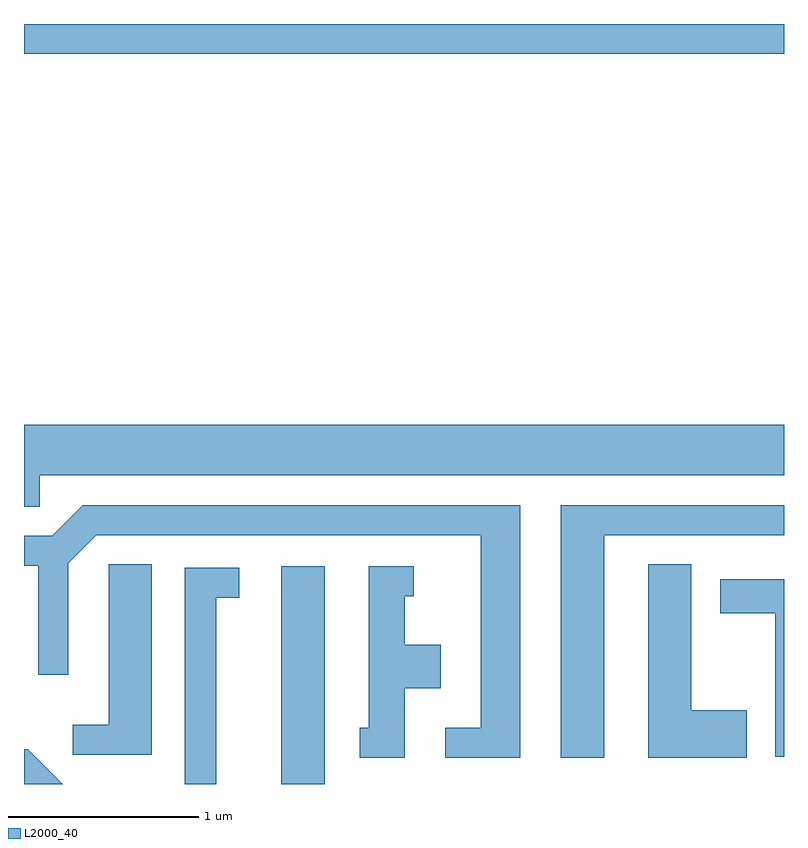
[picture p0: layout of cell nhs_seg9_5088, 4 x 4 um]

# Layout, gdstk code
import gdstk
lib = gdstk.Library(unit=1e-6, precision=1e-09)
def R(c, l, rs):  # rectangles x0, y0, x1, y1
    for r in rs: c.add(gdstk.rectangle(r[:2], r[2:], *l))
def P(c, l, *ps):  # polygons
    for p in ps: c.add(gdstk.Polygon(p, *l))
L2000_40 = (2000, 40)

nhs_seg9_5088 = lib.new_cell('nhs_seg9_5088')
R(nhs_seg9_5088, L2000_40, [(336.966,1972.432,337.194,1973.579), (335.611,1976.276,339.611,1976.432)])
P(nhs_seg9_5088, L2000_40, [(335.694,1974.056),(339.611,1974.056),(339.611,1974.324),(335.611,1974.324),(335.611,1973.891),(335.694,1973.891)],
  [(338.664,1973.741),(339.611,1973.741),(339.611,1973.899),(338.436,1973.899),(338.436,1972.571),(338.664,1972.571)],
  [(338.224,1973.899),(335.919,1973.899),(335.759,1973.739),(335.611,1973.739),(335.611,1973.581),(335.686,1973.581),(335.686,1973.008),(335.844,1973.008),(335.844,1973.594),(335.992,1973.741),(338.016,1973.741),(338.016,1972.729),(337.828,1972.729),(337.828,1972.571),(338.224,1972.571)],
  [(336.284,1973.589),(336.056,1973.589),(336.056,1972.744),(335.868,1972.744),(335.868,1972.586),(336.284,1972.586)],
  [(339.414,1972.819),(339.124,1972.819),(339.124,1973.589),(338.896,1973.589),(338.896,1972.571),(339.414,1972.571)],
  [(337.614,1972.936),(337.804,1972.936),(337.804,1973.164),(337.614,1973.164),(337.614,1973.421),(337.663,1973.421),(337.663,1973.579),(337.426,1973.579),(337.426,1972.729),(337.378,1972.729),(337.378,1972.571),(337.614,1972.571)],
  [(336.624,1973.411),(336.743,1973.411),(336.743,1973.569),(336.456,1973.569),(336.456,1972.432),(336.624,1972.432)],
  [(339.611,1973.509),(339.276,1973.509),(339.276,1973.331),(339.566,1973.331),(339.566,1972.576),(339.611,1972.576)],
  [(335.632,1972.614),(335.611,1972.614),(335.611,1972.432),(335.814,1972.432)])

lib.write_gds('nhs_seg9_5088.gds')
